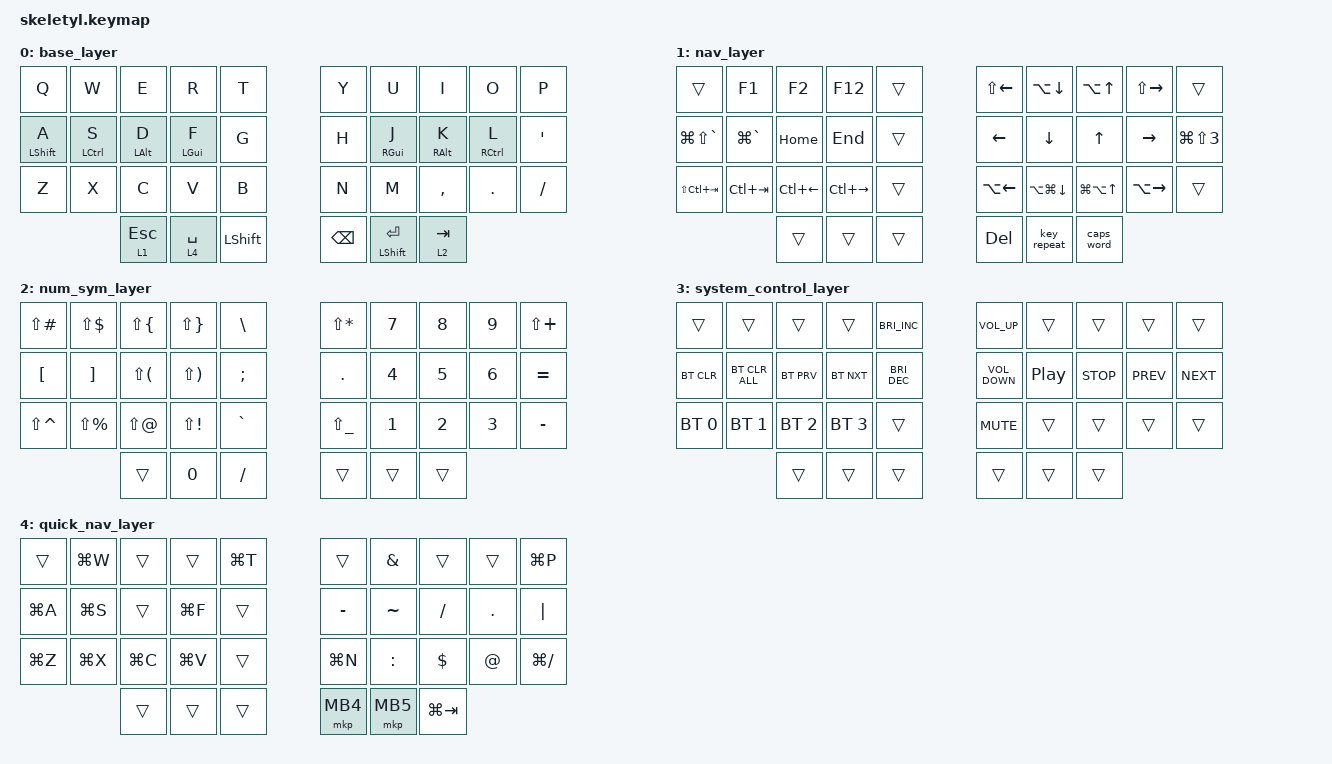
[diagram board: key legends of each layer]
/*
 * Copyright (c) 2020 The ZMK Contributors
 *
 * SPDX-License-Identifier: MIT
 */

#include <behaviors.dtsi>
#include <dt-bindings/zmk/bt.h>
#include <dt-bindings/zmk/keys.h>
#include <dt-bindings/zmk/mouse.h>

&mt {
    flavor = "tap-preferred";
    tapping-term-ms = <250>;
};

/ {
    combos {
        compatible = "zmk,combos";

        mac_sleep {
            bindings = <&kp LC(LG(Q))>;
            key-positions = <0 9>;
        };

        system_layer {
            bindings = <&mo 3>;
            key-positions = <30 35>;
        };
    };

    keymap {
        compatible = "zmk,keymap";

        base_layer {
            // -----------------------------------------------------------------------------------------
            // |  Q  |  W  |  E  |  R  |  T  |   |  Y  |  U   |  I  |  O  |  P  |
            // |  A  |  S  |  D  |  F  |  G  |   |  H  |  J   |  K  |  L  |  ;  |
            // |  Z  |  X  |  C  |  V  |  B  |   |  N  |  M   |  ,  |  .  |  /  |
            //                    | ESC | SPC | SHFT |   | BSPC | ENT | TAB |

            bindings = <
  &kp Q             &kp W        &kp E           &kp R           &kp T             &kp Y          &kp U                 &kp I            &kp O        &kp P
  &mt LEFT_SHIFT A  &mt LCTRL S  &mt LEFT_ALT D  &mt LEFT_GUI F  &kp G             &kp H          &mt RIGHT_GUI J       &mt RIGHT_ALT K  &mt RCTRL L  &kp SQT
  &kp Z             &kp X        &kp C           &kp V           &kp B             &kp N          &kp M                 &kp COMMA        &kp DOT      &kp SLASH
                                 &lt 1 ESC       &lt 4 SPACE     &kp LEFT_SHIFT    &kp BACKSPACE  &mt LEFT_SHIFT ENTER  &lt 2 TAB
            >;
        };

        nav_layer {
            // -----------------------------------------------------------------------------------------
            // | F-KEYS |  F1  |  F2   |  F12  | ---   |   | S+LEFT | A+DOWN | A+UP   | S+RIGHT | ---    |
            // | TAB    | GRAVE| HOME  | END   | ---   |   | LEFT   | DOWN   | UP     | RIGHT   | SCRN   |
            // | S+C+TAB| C+TAB| C+LEFT| C+RGHT| ---   |   | A+LEFT | A+DOWN | A+UP   | A+RIGHT | ---    |
            //                         | ---   | ---   | --- |   | DEL    | ---    | ---    |

            bindings = <
  &trans             &kp F1         &kp F2              &kp F12        &trans    &kp LS(LEFT_ARROW)  &kp LA(DOWN_ARROW)      &kp LA(UP_ARROW)      &kp LS(RIGHT)  &trans
  &kp LG(LS(GRAVE))  &kp LG(GRAVE)  &kp HOME            &kp END        &trans    &kp LEFT            &kp DOWN                &kp UP                &kp RIGHT      &kp LG(LS(NUMBER_3))
  &kp LS(LC(TAB))    &kp LC(TAB)    &kp LC(LEFT_ARROW)  &kp LC(RIGHT)  &trans    &kp LA(LEFT)        &kp LA(LG(DOWN_ARROW))  &kp LG(LA(UP_ARROW))  &kp LA(RIGHT)  &trans
                                    &trans              &trans         &trans    &kp DELETE          &key_repeat             &caps_word
            >;
        };

        num_sym_layer {
            // -----------------------------------------------------------------------------------------
            // |  #   |  $   |  {   |  }   |  \   |   |  *   |  7  |  8  |  9  |  +   |
            // |  [   |  ]   |  (   |  )   |  ;   |   |  .   |  4  |  5  |  6  |  =   |
            // |  ^   |  %   |  @   |  !   |  `   |   |  _   |  1  |  2  |  3  |  -   |
            //                      | ---  |  0   |  /  |   | ---  | --- | --- |

            bindings = <
  &kp LS(POUND)  &kp LS(DLLR)   &kp LS(LBRC)  &kp LS(RBRC)  &kp BACKSLASH    &kp LS(STAR)   &kp N7  &kp N8  &kp N9  &kp LS(PLUS)
  &kp LBKT       &kp RBKT       &kp LS(LPAR)  &kp LS(RPAR)  &kp SEMI         &kp PERIOD     &kp N4  &kp N5  &kp N6  &kp EQUAL
  &kp LS(CARET)  &kp LS(PRCNT)  &kp LS(AT)    &kp LS(EXCL)  &kp GRAVE        &kp LS(UNDER)  &kp N1  &kp N2  &kp N3  &kp MINUS
                                &trans        &kp N0        &kp SLASH        &trans         &trans  &trans
            >;
        };

        system_control_layer {
            // -----------------------------------------------------------------------------------------
            // | ---  | ---  | ---  | ---  | BRI+ |   | VOL+ | ---  | ---  | ---  | ---  |
            // | ---  | ---  | ---  | ---  | BRI- |   | VOL- | PLAY | STOP | PREV | NEXT |
            // | BT1  | BT2  | BT3  | BT4  | BTCL |   | MUTE | ---  | ---  | ---  | ---  |
            //                      | ---  | ---  | --- |   | ---  | ---  | ---  |

            bindings = <
  &trans        &trans          &trans        &trans        &kp C_BRIGHTNESS_INC    &kp C_VOLUME_UP    &trans            &trans      &trans      &trans
  &bt BT_CLR    &bt BT_CLR_ALL  &bt BT_PRV    &bt BT_NXT    &kp C_BRIGHTNESS_DEC    &kp C_VOLUME_DOWN  &kp C_PLAY_PAUSE  &kp K_STOP  &kp K_PREV  &kp K_NEXT
  &bt BT_SEL 0  &bt BT_SEL 1    &bt BT_SEL 2  &bt BT_SEL 3  &trans                  &kp K_MUTE         &trans            &trans      &trans      &trans
                                &trans        &trans        &trans                  &trans             &trans            &trans
            >;
        };

        quick_nav_layer {
            // -----------------------------------------------------------------------------------------
            // | ---  | CMD+W | ---   | ---   | CMD+T |   | ---  |  &   | ---  | ---  | CMD+P |
            // | CMD+A| CMD+S | ---   | CMD+F | ---   |   |  -   |  ~   |  /   |  .   |   |   |
            // | CMD+Z| CMD+X | CMD+C | CMD+V | ---   |   | CMD+N|  :   |  $   |  @   | CMD+/ |
            //                        | ---   | ---   | --- |   | ---  | ---  | ---  |

            bindings = <
  &trans     &kp LG(W)  &trans     &trans     &kp LG(T)    &trans     &kp AMPS   &trans       &trans       &kp LG(P)
  &kp LG(A)  &kp LG(S)  &trans     &kp LG(F)  &trans       &kp MINUS  &kp TILDE  &kp SLASH    &kp PERIOD   &kp PIPE
  &kp LG(Z)  &kp LG(X)  &kp LG(C)  &kp LG(V)  &trans       &kp LG(N)  &kp COLON  &kp DOLLAR   &kp AT_SIGN  &kp LG(SLASH)
                        &trans     &trans     &trans       &mkp MB4   &mkp MB5   &kp LG(TAB)
            >;
        };
    };
};
